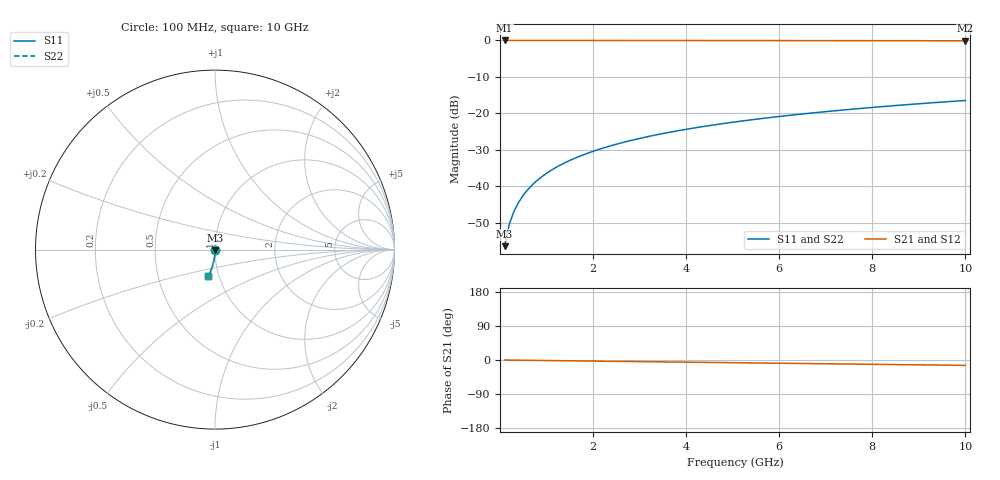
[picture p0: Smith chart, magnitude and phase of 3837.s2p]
# Hz S RI R 50.00
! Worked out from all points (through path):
!   100 points, 100 MHz to 10 GHz, reference 50 ohm
!   highest |S21| = 0.00 dB at 100 MHz (marker M1); lowest = -0.1 dB at 10 GHz (marker M2)
!   group delay of S21, straight-line fit = 3.96 ps
!   lowest |S11| = -56.4 dB at 100 MHz (marker M3), VSWR 1.00, Z = 50 - j0.151 ohm
!   |S11| at or under -10 dB: start of sweep to end of sweep
!   |S22| runs from -56.4 to -16.5 dB; largest |S21 - S12| = 0
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1e8  0.000142 -0.00151  0.9998 -0.00247  0.9998 -0.00247  0.000142 -0.00151
2e8  0.000129 -0.00302  0.9998 -0.00494  0.9998 -0.00494  0.000129 -0.00302
3e8  0.00011 -0.00454  0.9998 -0.00742  0.9998 -0.00742  0.00011 -0.00454
4e8  8.21e-05 -0.00605  0.9998 -0.00989  0.9998 -0.00989  8.21e-05 -0.00605
5e8  4.7e-05 -0.00756  0.9997 -0.0124  0.9997 -0.0124  4.7e-05 -0.00756
6e8  4.41e-06 -0.00907  0.9997 -0.0148  0.9997 -0.0148  4.41e-06 -0.00907
7e8  -4.57e-05 -0.0106  0.9996 -0.0173  0.9996 -0.0173  -4.57e-05 -0.0106
8e8  -0.000103 -0.0121  0.9996 -0.0198  0.9996 -0.0198  -0.000103 -0.0121
9e8  -0.000169 -0.0136  0.9995 -0.0223  0.9995 -0.0223  -0.000169 -0.0136
1.1e9  -0.000321 -0.0166  0.9993 -0.0272  0.9993 -0.0272  -0.000321 -0.0166
1.4e9  -0.000607 -0.0212  0.999 -0.0346  0.999 -0.0346  -0.000607 -0.0212
1.8e9  -0.00109 -0.0272  0.9984 -0.0445  0.9984 -0.0445  -0.00109 -0.0272
2.1e9  -0.00154 -0.0317  0.9979 -0.0519  0.9979 -0.0519  -0.00154 -0.0317
2.5e9  -0.00223 -0.0378  0.9972 -0.0618  0.9972 -0.0618  -0.00223 -0.0378
2.9e9  -0.00305 -0.0438  0.9962 -0.0717  0.9962 -0.0717  -0.00305 -0.0438
3.4e9  -0.00424 -0.0513  0.9949 -0.084  0.9949 -0.084  -0.00424 -0.0513
4.2e9  -0.00653 -0.0633  0.9923 -0.1037  0.9923 -0.1037  -0.00653 -0.0633
5.1e9  -0.00968 -0.0766  0.9888 -0.1258  0.9888 -0.1258  -0.00968 -0.0766
5.9e9  -0.013 -0.0884  0.9851 -0.1453  0.9851 -0.1453  -0.013 -0.0884
6.7e9  -0.0168 -0.1  0.9808 -0.1648  0.9808 -0.1648  -0.0168 -0.1
8.4e9  -0.0263 -0.124  0.9701 -0.2055  0.9701 -0.2055  -0.0263 -0.124
1e10  -0.037 -0.1458  0.9579 -0.2431  0.9579 -0.2431  -0.037 -0.1458
